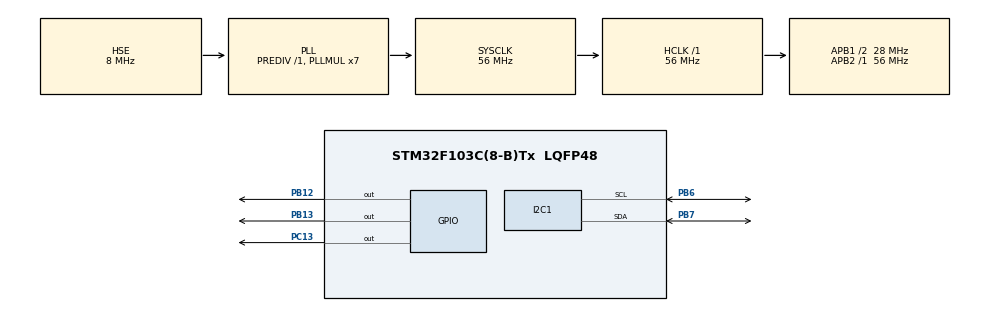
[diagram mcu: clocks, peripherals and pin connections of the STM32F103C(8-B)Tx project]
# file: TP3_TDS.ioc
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IWDG.Reload=20
Mcu.Family=STM32F1
Mcu.Name=STM32F103C(8-B)Tx
Mcu.Package=LQFP48
NVIC.PriorityGroup=NVIC_PRIORITYGROUP_4
NVIC.RTC_IRQn=true\:0\:0\:false\:false\:true\:true\:true
PA13.Mode=Serial_Wire
PA13.Signal=SYS_JTMS-SWDIO
PA14.Mode=Serial_Wire
PA14.Signal=SYS_JTCK-SWCLK
PB1.Signal=ADCx_IN9
PB12.Signal=GPIO_Output
PB13.Signal=GPIO_Output
PB6.Mode=I2C
PB6.Signal=I2C1_SCL
PB7.Mode=I2C
PB7.Signal=I2C1_SDA
PC13-TAMPER-RTC.Signal=GPIO_Output
PD0-OSC_IN.Mode=HSE-External-Oscillator
PD0-OSC_IN.Signal=RCC_OSC_IN
PD1-OSC_OUT.Mode=HSE-External-Oscillator
PD1-OSC_OUT.Signal=RCC_OSC_OUT
ProjectManager.HeapSize=0x200
ProjectManager.StackSize=0x400
ProjectManager.TargetToolchain=STM32CubeIDE
RCC.ADCPresc=RCC_ADCPCLK2_DIV4
RCC.AHBFreq_Value=56000000
RCC.APB1CLKDivider=RCC_HCLK_DIV2
RCC.APB1Freq_Value=28000000
RCC.APB1TimFreq_Value=56000000
RCC.APB2Freq_Value=56000000
RCC.APB2TimFreq_Value=56000000
RCC.HCLKFreq_Value=56000000
RCC.PLLMUL=RCC_PLL_MUL7
RCC.PLLSourceVirtual=RCC_PLLSOURCE_HSE
RCC.SYSCLKFreq_VALUE=56000000
RCC.SYSCLKSource=RCC_SYSCLKSOURCE_PLLCLK
RCC.USBFreq_Value=56000000
RTC.Date=15
RTC.Format=RTC_FORMAT_BIN
RTC.Hours=14
RTC.Minutes=15
RTC.Month=RTC_MONTH_JULY
RTC.Seconds=30
RTC.WeekDay=RTC_WEEKDAY_TUESDAY
RTC.Year=20
SH.ADCx_IN9.0=ADC1_IN9
VP_IWDG_VS_IWDG.Mode=IWDG_Activate
VP_RTC_VS_RTC_Activate.Mode=RTC_Enabled
VP_RTC_VS_RTC_Calendar.Mode=RTC_Calendar
board=custom

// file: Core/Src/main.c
/* USER CODE BEGIN Header */
/**
  ******************************************************************************
  * @file           : main.c
  * @brief          : Main program body
  ******************************************************************************
  * @attention
  *
  * <h2><center>&copy; Copyright (c) 2020 STMicroelectronics.
  * All rights reserved.</center></h2>
  *
  * This software component is licensed by ST under BSD 3-Clause license,
  * the "License"; You may not use this file except in compliance with the
  * License. You may obtain a copy of the License at:
  *                        opensource.org/licenses/BSD-3-Clause
  *
  ******************************************************************************
  */
/* USER CODE END Header */

#include "main.h"

/* USER CODE BEGIN Includes */
#include "../planificador/miniplanificador.h"
#include "i2c-lcd.h"//Funciones display
#include <stdio.h>//sprintf,etc
#include <stdlib.h>
/* USER CODE END Includes */

/* USER CODE BEGIN PD */
//#define __SET_IWDG
#define dwt_init() 	{DWT->CTRL |= DWT_CTRL_CYCCNTENA_Msk; DWT->CYCCNT=0;}
#define dwt_reset() {DWT->CYCCNT=0;}
#define dwt_read() 	(DWT->CYCCNT)
#define MAX_LEN_TASK_LIST	(8)

/* USER CODE END PD */

I2C_HandleTypeDef hi2c1;

IWDG_HandleTypeDef hiwdg;

RTC_HandleTypeDef hrtc;

/* USER CODE BEGIN PV */
#ifdef __SET_IWDG
IWDG_HandleTypeDef hiwdg;
#endif

uint32_t ticks;

TaskStat lista_tareas[MAX_LEN_TASK_LIST];

//Variables Globales para Display
char time[16];
char date[16];
/* USER CODE END PV */

void SystemClock_Config(void);
static void MX_GPIO_Init(void);
static void MX_IWDG_Init(void);
static void MX_RTC_Init(void);
static void MX_I2C1_Init(void);
/* USER CODE BEGIN PFP */
void display_time (void * p);
void get_time(void * p);
void start_timer(void);
uint32_t stop_timer(void);
#ifdef __SET_IWDG
static void MX_IWDG_Init(void);
#endif
/*
 * Prototipos de las funciones que hacen al sistema.
 */
void falla_sistema(void);
void tarea_iwdg(void *p);

/* USER CODE END PFP */

/* USER CODE BEGIN 0 */
void display_time (void * p)
{
 lcd_send_cmd (0x80); // send cursor to 0,0
 lcd_send_string (time);
 lcd_send_cmd (0xc0); // send cursor to 1,0
 lcd_send_string (date);
}

void get_time(void * p)
{
 RTC_DateTypeDef gDate;
 RTC_TimeTypeDef gTime;
/* Get the RTC current Time */
 HAL_RTC_GetTime(&hrtc, &gTime, RTC_FORMAT_BIN);
/* Get the RTC current Date */
 HAL_RTC_GetDate(&hrtc, &gDate, RTC_FORMAT_BIN);
/* Display time Format: hh:mm:ss */
 sprintf((char*)time,"%02d:%02d:%02d",gTime.Hours, gTime.Minutes, gTime.Seconds);
/* Display date Format: dd-mm-yy */
 sprintf((char*)date,"%02d-%02d-%2d",gDate.Date, gDate.Month, 2000 + gDate.Year);
}

void start_timer(void)
{
	TIM2->CNT = 0;
	TIM2->CR1 |= TIM_CR1_CEN;
}

uint32_t stop_timer(void)
{
	uint32_t ret = TIM2->CNT;
	TIM2->CR1 &= ~TIM_CR1_CEN;
	return ret;
}

void falla_sistema(void)
{
	__disable_irq();
	HAL_GPIO_WritePin(GPIOB, GPIO_PIN_13, GPIO_PIN_SET);
	HAL_GPIO_WritePin(GPIOB, GPIO_PIN_12, GPIO_PIN_SET);
	while (1)
	{
		for (uint32_t i = 0; i < 100000; i++)
			;
		HAL_GPIO_TogglePin(GPIOC, GPIO_PIN_13);
	}
}
/* USER CODE END 0 */

int main(void)
{

  /* MCU Configuration--------------------------------------------------------*/

  /* Reset of all peripherals, Initializes the Flash interface and the Systick. */
  HAL_Init();

  /* Configure the system clock */
  SystemClock_Config();

  /* Initialize all configured peripherals */
  MX_GPIO_Init();
  MX_RTC_Init();
  MX_I2C1_Init();
  /* USER CODE BEGIN 2 */
	uint32_t tics_despachador;
	uint32_t wcet_todo = 0;

	uint32_t tics_tarea;
	uint32_t wcet_tarea = 0;

	ticks = 1;
	dwt_init();
	//Inicializo Display LCD
	lcd_init ();
	get_time(NULL);//Cargo fecha y hora desde el RTC en las variables globales para el display

	/*
	 * Para usar el IWDG - Independient Watchdog hay que sacar el comentario
	 * del #define que está abajo. En este caso está comentado para poder
	 * usar el debugger sin problemas. En caso de usarlo y querer volver a
	 * debuggear hay que arrancar con el pin BOOT0 en 1.
	 */
	#ifdef __SET_IWDG
	MX_IWDG_Init();
	#endif

  	/*
  	 * Todas las salidas inactivas. Justificar.
  	 */
  	HAL_GPIO_WritePin(GPIOC, GPIO_PIN_13, GPIO_PIN_SET);
  	HAL_GPIO_WritePin(GPIOB, GPIO_PIN_13, GPIO_PIN_SET);
  	HAL_GPIO_WritePin(GPIOB, GPIO_PIN_12, GPIO_PIN_SET);

  	/*
  	 * Uso el timer 2 para el monitor del sistema.
  	 */
  	RCC->APB1ENR |= RCC_APB1ENR_TIM2EN;
  	/*
  	 * Esta línea configura el prescaler del timer
  	 * que cuenta tiempo del procesador. Prestar atención.
  	 */
  	TIM2->PSC = (SystemCoreClock / 1000000) - 1;//cuenta en uSeg
  	TIM2->CNT = -1;
  	TIM2->CR1 |= TIM_CR1_CEN;
  	TIM2->CR1 &= ~TIM_CR1_CEN;//65000 el preescaler

  	/*
  	 * Inicializo el despachador de las tareas. Le tengo que pasar
  	 * la lista de tareas, dos punteros a función: uno para inicializar
  	 * un timer y otro para que me devuelva la cuenta y lo frene. El
  	 * puntero restante es un puntero a función que se llama cuando
  	 * hay falla en la medición de tiempos de las funciones.
  	 *
  	 */
  	inicializar_despachador(lista_tareas,
  	MAX_LEN_TASK_LIST, start_timer, stop_timer, falla_sistema);
  	agregar_tarea(lista_tareas, get_time, NULL, 0, 1, 0, 10000);
  	agregar_tarea(lista_tareas, display_time, NULL, 0, 1, 0, 10000);

  /* USER CODE END 2 */

  /* Infinite loop */
  /* USER CODE BEGIN WHILE */
  while (1)
  {

	if (!ticks)
	{
		dwt_reset()
		ticks++;
		despachar_tareas();
		tics_despachador = dwt_read();
		if (tics_despachador > wcet_todo)
			wcet_todo = tics_despachador;
	}

	/*dwt_reset();
	display_time(NULL);
	tics_tarea = dwt_read();
	if (tics_tarea > wcet_tarea)
		wcet_tarea = tics_tarea;

		dwt_reset();
		get_time(NULL);
		tics_tarea = dwt_read();
		if (tics_tarea > wcet_tarea)
			wcet_tarea = tics_tarea;*/
    /* USER CODE END WHILE */

  }
}

void SystemClock_Config(void)
{
  RCC_OscInitTypeDef RCC_OscInitStruct = {0};
  RCC_ClkInitTypeDef RCC_ClkInitStruct = {0};
  RCC_PeriphCLKInitTypeDef PeriphClkInit = {0};

  /** Initializes the CPU, AHB and APB busses clocks
  */
  RCC_OscInitStruct.OscillatorType = RCC_OSCILLATORTYPE_LSI|RCC_OSCILLATORTYPE_HSE;
  RCC_OscInitStruct.HSEState = RCC_HSE_ON;
  RCC_OscInitStruct.HSEPredivValue = RCC_HSE_PREDIV_DIV1;
  RCC_OscInitStruct.HSIState = RCC_HSI_ON;
  RCC_OscInitStruct.LSIState = RCC_LSI_ON;
  RCC_OscInitStruct.PLL.PLLState = RCC_PLL_ON;
  RCC_OscInitStruct.PLL.PLLSource = RCC_PLLSOURCE_HSE;
  RCC_OscInitStruct.PLL.PLLMUL = RCC_PLL_MUL7;
  if (HAL_RCC_OscConfig(&RCC_OscInitStruct) != HAL_OK)
  {
    Error_Handler();
  }
  /** Initializes the CPU, AHB and APB busses clocks
  */
  RCC_ClkInitStruct.ClockType = RCC_CLOCKTYPE_HCLK|RCC_CLOCKTYPE_SYSCLK
                              |RCC_CLOCKTYPE_PCLK1|RCC_CLOCKTYPE_PCLK2;
  RCC_ClkInitStruct.SYSCLKSource = RCC_SYSCLKSOURCE_PLLCLK;
  RCC_ClkInitStruct.AHBCLKDivider = RCC_SYSCLK_DIV1;
  RCC_ClkInitStruct.APB1CLKDivider = RCC_HCLK_DIV2;
  RCC_ClkInitStruct.APB2CLKDivider = RCC_HCLK_DIV1;

  if (HAL_RCC_ClockConfig(&RCC_ClkInitStruct, FLASH_LATENCY_2) != HAL_OK)
  {
    Error_Handler();
  }
  PeriphClkInit.PeriphClockSelection = RCC_PERIPHCLK_RTC;
  PeriphClkInit.RTCClockSelection = RCC_RTCCLKSOURCE_LSI;
  if (HAL_RCCEx_PeriphCLKConfig(&PeriphClkInit) != HAL_OK)
  {
    Error_Handler();
  }
}

static void MX_I2C1_Init(void)
{

  hi2c1.Instance = I2C1;
  hi2c1.Init.ClockSpeed = 100000;
  hi2c1.Init.DutyCycle = I2C_DUTYCYCLE_2;
  hi2c1.Init.OwnAddress1 = 0;
  hi2c1.Init.AddressingMode = I2C_ADDRESSINGMODE_7BIT;
  hi2c1.Init.DualAddressMode = I2C_DUALADDRESS_DISABLE;
  hi2c1.Init.OwnAddress2 = 0;
  hi2c1.Init.GeneralCallMode = I2C_GENERALCALL_DISABLE;
  hi2c1.Init.NoStretchMode = I2C_NOSTRETCH_DISABLE;
  if (HAL_I2C_Init(&hi2c1) != HAL_OK)
  {
    Error_Handler();
  }

}

static void MX_IWDG_Init(void)
{

  hiwdg.Instance = IWDG;
  hiwdg.Init.Prescaler = IWDG_PRESCALER_4;
  hiwdg.Init.Reload = 20;
  if (HAL_IWDG_Init(&hiwdg) != HAL_OK)
  {
    Error_Handler();
  }

}

static void MX_RTC_Init(void)
{

  RTC_TimeTypeDef sTime = {0};
  RTC_DateTypeDef DateToUpdate = {0};

  /** Initialize RTC Only
  */
  hrtc.Instance = RTC;
  hrtc.Init.AsynchPrediv = RTC_AUTO_1_SECOND;
  hrtc.Init.OutPut = RTC_OUTPUTSOURCE_ALARM;
  if (HAL_RTC_Init(&hrtc) != HAL_OK)
  {
    Error_Handler();
  }

  /** Initialize RTC and set the Time and Date
  */
  sTime.Hours = 14;
  sTime.Minutes = 15;
  sTime.Seconds = 30;

  if (HAL_RTC_SetTime(&hrtc, &sTime, RTC_FORMAT_BIN) != HAL_OK)
  {
    Error_Handler();
  }
  DateToUpdate.WeekDay = RTC_WEEKDAY_TUESDAY;
  DateToUpdate.Month = RTC_MONTH_JULY;
  DateToUpdate.Date = 15;
  DateToUpdate.Year = 20;

  if (HAL_RTC_SetDate(&hrtc, &DateToUpdate, RTC_FORMAT_BIN) != HAL_OK)
  {
    Error_Handler();
  }

}

static void MX_GPIO_Init(void)
{
  GPIO_InitTypeDef GPIO_InitStruct = {0};

  /* GPIO Ports Clock Enable */
  __HAL_RCC_GPIOC_CLK_ENABLE();
  __HAL_RCC_GPIOD_CLK_ENABLE();
  __HAL_RCC_GPIOB_CLK_ENABLE();
  __HAL_RCC_GPIOA_CLK_ENABLE();

  /*Configure GPIO pin Output Level */
  HAL_GPIO_WritePin(GPIOC, GPIO_PIN_13, GPIO_PIN_RESET);

  /*Configure GPIO pin Output Level */
  HAL_GPIO_WritePin(GPIOB, GPIO_PIN_12|GPIO_PIN_13, GPIO_PIN_RESET);

  /*Configure GPIO pin : PC13 */
  GPIO_InitStruct.Pin = GPIO_PIN_13;
  GPIO_InitStruct.Mode = GPIO_MODE_OUTPUT_PP;
  GPIO_InitStruct.Pull = GPIO_NOPULL;
  GPIO_InitStruct.Speed = GPIO_SPEED_FREQ_LOW;
  HAL_GPIO_Init(GPIOC, &GPIO_InitStruct);

  /*Configure GPIO pin : PB1 */
  GPIO_InitStruct.Pin = GPIO_PIN_1;
  GPIO_InitStruct.Mode = GPIO_MODE_ANALOG;
  HAL_GPIO_Init(GPIOB, &GPIO_InitStruct);

  /*Configure GPIO pins : PB12 PB13 */
  GPIO_InitStruct.Pin = GPIO_PIN_12|GPIO_PIN_13;
  GPIO_InitStruct.Mode = GPIO_MODE_OUTPUT_PP;
  GPIO_InitStruct.Pull = GPIO_NOPULL;
  GPIO_InitStruct.Speed = GPIO_SPEED_FREQ_LOW;
  HAL_GPIO_Init(GPIOB, &GPIO_InitStruct);

}

void Error_Handler(void)
{
}

/************************ (C) COPYRIGHT STMicroelectronics *****END OF FILE****/
